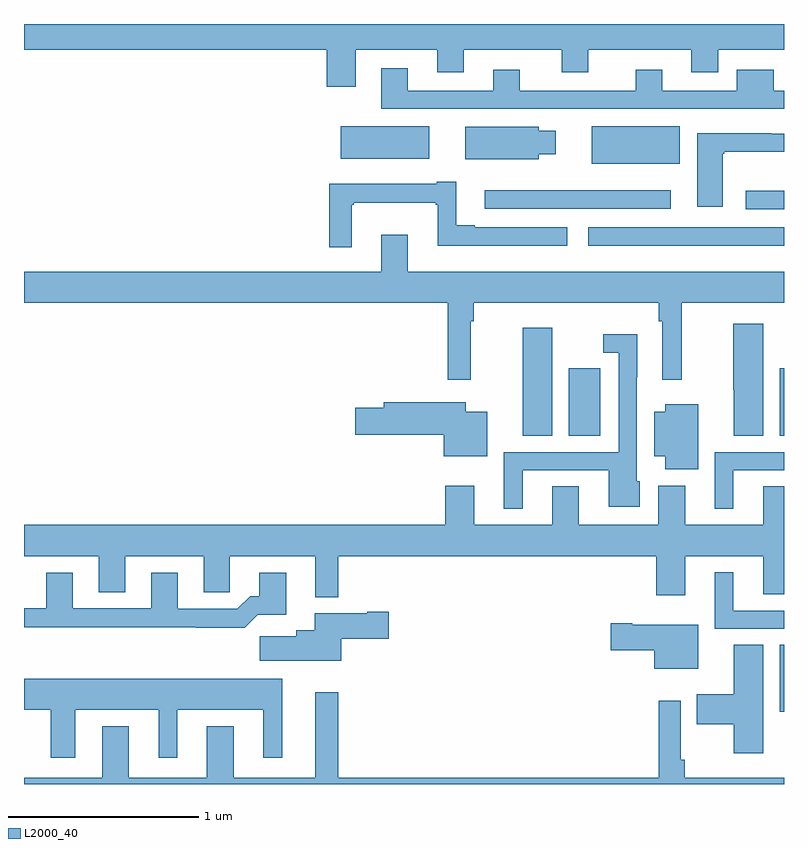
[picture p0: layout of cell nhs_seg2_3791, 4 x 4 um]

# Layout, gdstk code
import gdstk
lib = gdstk.Library(unit=1e-6, precision=1e-09)
def R(c, l, rs):  # rectangles x0, y0, x1, y1
    for r in rs: c.add(gdstk.rectangle(r[:2], r[2:], *l))
def P(c, l, *ps):  # polygons
    for p in ps: c.add(gdstk.Polygon(p, *l))
L2000_40 = (2000, 40)

nhs_seg2_3791 = lib.new_cell('nhs_seg2_3791')
R(nhs_seg2_3791, L2000_40, [(314.978,616.179,315,616.532), (313.625,617.632,313.78,618.202), (313.868,617.632,314.032,617.989), (314.978,617.632,315,617.989), (313.971,618.632,315,618.729), (314.799,618.825,315,618.923), (313.425,618.828,314.404,618.925), (313.988,619.064,314.452,619.261), (312.668,619.091,313.132,619.261)])
P(nhs_seg2_3791, L2000_40, [(312.745,619.664),(313.175,619.664),(313.175,619.547),(313.315,619.547),(313.315,619.664),(313.829,619.664),(313.829,619.547),(313.969,619.547),(313.969,619.664),(314.513,619.664),(314.513,619.547),(314.653,619.547),(314.653,619.664),(315,619.664),(315,619.8),(311,619.8),(311,619.664),(312.593,619.664),(312.593,619.47),(312.745,619.47)],
  [(315,619.449),(314.947,619.449),(314.947,619.558),(314.75,619.558),(314.75,619.449),(314.359,619.449),(314.359,619.558),(314.219,619.558),(314.219,619.449),(313.609,619.449),(313.609,619.558),(313.469,619.558),(313.469,619.449),(313.021,619.449),(313.021,619.567),(312.881,619.567),(312.881,619.353),(315,619.353)],
  [(313.71,619.115),(313.798,619.115),(313.798,619.237),(313.71,619.237),(313.71,619.258),(313.322,619.258),(313.322,619.088),(313.71,619.088)],
  [(314.677,619.116),(314.685,619.116),(314.685,619.127),(315,619.127),(315,619.223),(314.933,619.223),(314.933,619.224),(314.543,619.224),(314.543,618.837),(314.677,618.837)],
  [(312.724,618.849),(312.736,618.849),(312.736,618.86),(313.167,618.86),(313.167,618.849),(313.178,618.849),(313.178,618.632),(313.858,618.632),(313.858,618.729),(313.372,618.729),(313.372,618.742),(313.276,618.742),(313.276,618.97),(313.172,618.97),(313.172,618.958),(312.607,618.958),(312.607,618.624),(312.724,618.624)],
  [(313.352,618.236),(313.367,618.236),(313.367,618.332),(314.341,618.332),(314.341,618.236),(314.36,618.236),(314.36,617.928),(314.462,617.928),(314.462,618.332),(315,618.332),(315,618.496),(313.021,618.496),(313.021,618.691),(312.881,618.691),(312.881,618.496),(311,618.496),(311,618.332),(313.231,618.332),(313.231,617.928),(313.352,617.928)],
  [(314.89,618.223),(314.732,618.223),(314.732,617.874),(314.735,617.874),(314.735,617.632),(314.89,617.632)],
  [(313.624,617.451),(314.078,617.451),(314.078,617.258),(314.242,617.258),(314.242,617.394),(314.226,617.394),(314.226,617.94),(314.227,617.94),(314.227,618.166),(314.049,618.166),(314.049,618.069),(314.13,618.069),(314.13,617.547),(313.526,617.547),(313.526,617.25),(313.624,617.25)],
  [(313.438,617.758),(313.324,617.758),(313.324,617.81),(312.893,617.81),(312.893,617.78),(312.744,617.78),(312.744,617.638),(313.208,617.638),(313.208,617.525),(313.438,617.525)],
  [(314.548,617.8),(314.375,617.8),(314.375,617.758),(314.318,617.758),(314.318,617.525),(314.375,617.525),(314.375,617.456),(314.548,617.456)],
  [(314.734,617.451),(315,617.451),(315,617.547),(314.636,617.547),(314.636,617.25),(314.734,617.25)],
  [(312.655,617),(314.327,617),(314.327,616.794),(314.479,616.794),(314.479,617),(314.891,617),(314.891,616.798),(315,616.798),(315,617.366),(314.891,617.366),(314.891,617.164),(314.479,617.164),(314.479,617.371),(314.339,617.371),(314.339,617.164),(313.921,617.164),(313.921,617.366),(313.781,617.366),(313.781,617.164),(313.369,617.164),(313.369,617.371),(313.217,617.371),(313.217,617.164),(311,617.164),(311,617),(311.393,617),(311.393,616.81),(311.533,616.81),(311.533,617),(311.945,617),(311.945,616.81),(312.084,616.81),(312.084,617),(312.533,617),(312.533,616.784),(312.655,616.784)],
  [(315,616.713),(314.734,616.713),(314.734,616.915),(314.636,616.915),(314.636,616.617),(315,616.617)],
  [(312.23,616.691),(312.379,616.691),(312.379,616.912),(312.239,616.912),(312.239,616.789),(312.19,616.789),(312.123,616.722),(311.809,616.722),(311.809,616.912),(311.669,616.912),(311.669,616.725),(311.257,616.725),(311.257,616.912),(311.117,616.912),(311.117,616.725),(311,616.725),(311,616.624),(311.905,616.624),(311.905,616.622),(312.161,616.622)],
  [(312.67,616.565),(312.919,616.565),(312.919,616.707),(312.806,616.707),(312.806,616.699),(312.53,616.699),(312.53,616.609),(312.434,616.609),(312.434,616.577),(312.24,616.577),(312.24,616.448),(312.67,616.448)],
  [(314.548,616.639),(314.2,616.639),(314.2,616.647),(314.088,616.647),(314.088,616.505),(314.318,616.505),(314.318,616.406),(314.548,616.406)],
  [(314.89,616.532),(314.735,616.532),(314.735,616.273),(314.542,616.273),(314.542,616.115),(314.735,616.115),(314.735,615.963),(314.89,615.963)],
  [(311.269,616.19),(311.708,616.19),(311.708,615.939),(311.806,615.939),(311.806,616.19),(312.26,616.19),(312.26,615.939),(312.358,615.939),(312.358,616.354),(311,616.354),(311,616.19),(311.141,616.19),(311.141,615.939),(311.269,615.939)],
  [(315,615.832),(314.477,615.832),(314.477,615.928),(314.457,615.928),(314.457,616.237),(314.341,616.237),(314.341,615.832),(312.655,615.832),(312.655,616.282),(312.533,616.282),(312.533,615.832),(312.103,615.832),(312.103,616.105),(311.963,616.105),(311.963,615.832),(311.551,615.832),(311.551,616.105),(311.411,616.105),(311.411,615.832),(311,615.832),(311,615.8),(315,615.8)])

lib.write_gds('nhs_seg2_3791.gds')
